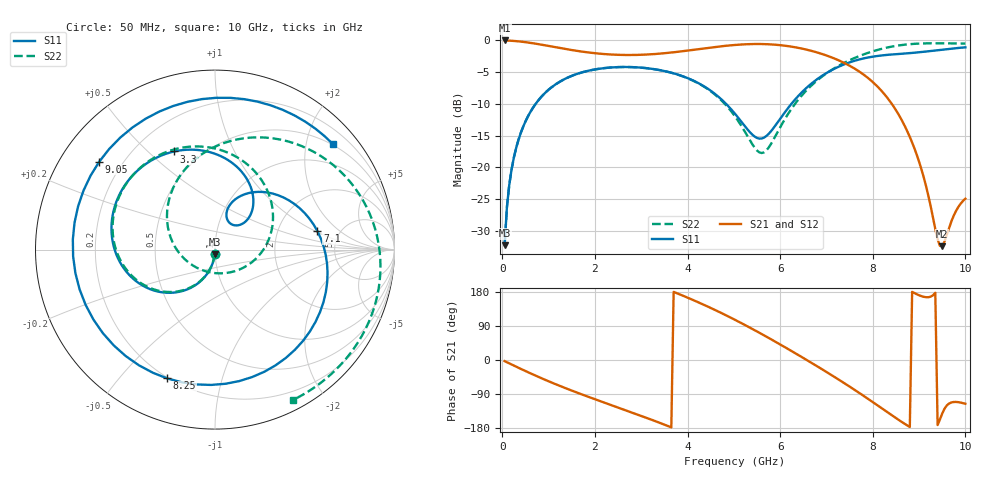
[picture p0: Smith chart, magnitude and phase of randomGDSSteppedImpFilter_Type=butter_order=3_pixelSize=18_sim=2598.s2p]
! freq	dB(S11)	phase(S11)	dB(S12)	phase(S12)
!  dB(S21)	phase(S21)	dB(S22)	phase(S22)
!S-par simulation data
#  GHz  S  DB  R 50
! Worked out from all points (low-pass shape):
!   200 points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, 50 MHz to 10 GHz, reference 50 ohm
!   highest |S21| = -0.01 dB at 50 MHz (marker M1); lowest = -32.4 dB at 9.5 GHz (marker M2)
!   |S21| within 3 dB of the highest: start of sweep to 7.223 GHz
!   lowest |S11| = -32.3 dB at 50 MHz (marker M3), VSWR 1.05, Z = 49.8 - j2.43 ohm
!   |S11| at or under -10 dB: start of sweep to 720.5 MHz; 4.833 GHz to 6.242 GHz (1.41 GHz wide, 25.5 % of centre)
!   |S22| runs from -32.3 to -0.4 dB; largest |S21 - S12| = 0
!   S11 on the Smith chart (normalised r, x): 50 MHz: 1.00, -0.05; 3.3 GHz: 0.36, +0.61; 7.1 GHz: 3.41, +1.05; 8.25 GHz: 0.20, -0.68; 9.05 GHz: 0.12, +0.33; 10 GHz: 0.48, +2.55
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0.05  -32.26 -93.1  -0.01 -3.0  -0.01 -3.0  -32.26 -93.2
0.2  -20.33 -102.2  -0.06 -11.8  -0.06 -11.8  -20.33 -102.4
0.5  -12.77 -119.4  -0.28 -29.1  -0.28 -29.1  -12.77 -120.0
1.1  -7.19 -151.1  -1.00 -61.3  -1.00 -61.3  -7.19 -152.6
1.75  -4.98 178.4  -1.79 -92.3  -1.79 -92.3  -4.98 175.9
2.45  -4.22 148.4  -2.26 -123.2  -2.26 -123.2  -4.22 144.1
3.3  -4.55 112.6  -2.14 -161.1  -2.14 -161.1  -4.56 104.7
3.4  -4.68 108.3  -2.08 -165.8  -2.08 -165.8  -4.68 99.8
4.25  -6.79 71.0  -1.37 151.3  -1.37 151.3  -6.83 53.1
5.05  -11.77 43.3  -0.70 104.5  -0.70 104.5  -12.21 -8.3
5.65  -15.32 63.2  -0.58 65.2  -0.58 65.2  -17.64 -112.3
6.2  -10.38 68.0  -0.93 26.9  -0.93 26.9  -11.25 159.4
6.7  -6.66 40.6  -1.69 -9.2  -1.69 -9.2  -6.93 116.4
7.1  -4.73 10.2  -2.64 -39.1  -2.64 -39.1  -4.71 88.2
7.65  -3.12 -40.9  -4.63 -82.2  -4.63 -82.2  -2.63 53.4
8  -2.56 -79.6  -6.56 -111.0  -6.56 -111.0  -1.72 32.7
8.25  -2.32 -110.4  -8.45 -132.2  -8.45 -132.2  -1.22 18.5
8.35  -2.25 -123.3  -9.38 -140.7  -9.38 -140.7  -1.06 12.9
8.7  -2.06 -170.5  -13.62 -169.3  -13.62 -169.3  -0.66 -5.8
9.05  -1.83 142.8  -20.28 168.5  -20.28 168.5  -0.48 -23.1
9.5  -1.46 89.5  -32.41 -141.1  -32.41 -141.1  -0.45 -43.0
10  -1.09 41.6  -24.94 -115.4  -24.94 -115.4  -0.50 -62.5
